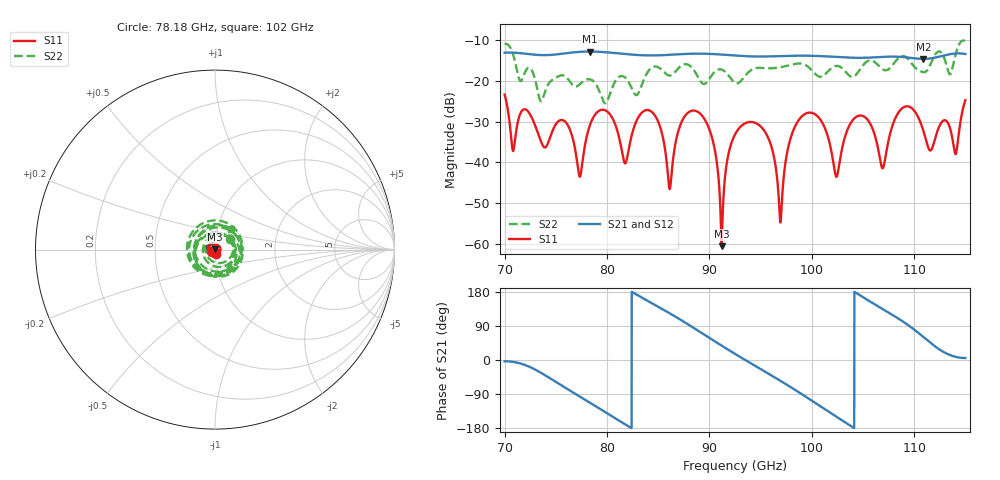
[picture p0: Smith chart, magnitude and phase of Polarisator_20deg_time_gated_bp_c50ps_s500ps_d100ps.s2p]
# Hz S RI R 1.000000
! Metas.Vna.Tools, 2.4.7898.19887
! Metas.Vna.Data, 2.4.7898.19873
! Created: UTC 2021.09.30 14:30:59
! FREQ  re:S1,1  im:S1,1  re:S2,1  im:S2,1  re:S1,2  im:S1,2  re:S2,2  im:S2,2
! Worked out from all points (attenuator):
!   2251 points, 70 GHz to 115 GHz, reference 1 ohm
!   highest |S21| = -12.84 dB at 78.3 GHz (marker M1); lowest = -14.6 dB at 110.9 GHz (marker M2)
!   lowest |S11| = -60.5 dB at 91.2 GHz (marker M3), VSWR 1.00, Z = 1 + j0.00186 ohm
!   |S11| at or under -10 dB: start of sweep to end of sweep
!   |S22| runs from -25.5 to -10.1 dB; largest |S21 - S12| = 0.025
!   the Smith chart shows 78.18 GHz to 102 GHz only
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7e10  -0.0671 -0.0103  0.2205 -0.0128  0.2216 -0.0101  -0.1216 -0.25
7.082e10  -0.00774 -0.0114  0.2203 -0.0187  0.2215 -0.016  -0.1932 -0.0855
7.568e10  -0.0317 -0.00905  0.0764 -0.2008  0.0779 -0.2002  0.1063 -0.048
7.75e10  0.00804 -0.000631  -0.0353 -0.2238  -0.0338 -0.2244  -0.0331 0.0884
7.83e10  0.00255 -0.0277  -0.0856 -0.2113  -0.0841 -0.2125  0.0967 0.039
8.178e10  -0.00965 -0.00123  -0.2092 -0.0372  -0.2087 -0.0402  0.0716 -0.0826
8.5e10  -0.0126 0.0289  -0.1585 0.1298  -0.1605 0.128  0.0117 -0.146
8.612e10  0.00447 -0.00149  -0.1143 0.1736  -0.1169 0.1726  -0.0888 0.0744
8.742e10  -0.0324 -0.00986  -0.0453 0.2075  -0.048 0.2075  0.1519 -0.0398
8.942e10  -0.0042 0.0352  0.0792 0.1994  0.0772 0.2005  -0.0379 0.0833
9.12e10  -0.000173 0.000928  0.1653 0.1283  0.1645 0.1301  -0.0241 -0.135
9.25e10  -0.00625 0.0211  0.1955 0.0566  0.1955 0.0587  -0.0233 0.0914
9.542e10  0.0104 -0.0214  0.1707 -0.1006  0.1725 -0.0982  -0.0513 0.133
9.694e10  -0.00108 0.00149  0.115 -0.1641  0.1176 -0.1628  0.0549 -0.1359
9.804e10  0.0214 -0.00481  0.0582 -0.1938  0.0609 -0.1936  -0.1519 0.0414
1e11  -0.0108 -0.039  -0.0598 -0.1932  -0.0579 -0.1951  0.0847 -0.1042
1.024e11  -0.00418 -0.00519  -0.1688 -0.0991  -0.1683 -0.1035  0.1482 0.0338
1.0436e11  -0.0214 -0.0293  -0.1906 0.0114  -0.1928 0.00513  -0.0783 0.0909
1.075e11  -0.00662 -0.0176  -0.1134 0.1615  -0.1212 0.157  -0.0884 0.1067
1.109e11  -0.0158 0.0185  0.0909 0.1617  0.0818 0.17  -0.0373 0.1219
1.1404e11  -0.0123 -0.00269  0.2134 0.0314  0.2096 0.0557  -0.0621 0.2003
1.15e11  -0.0328 -0.0477  0.2119 0.0197  0.2098 0.0448  0.1673 0.2539
